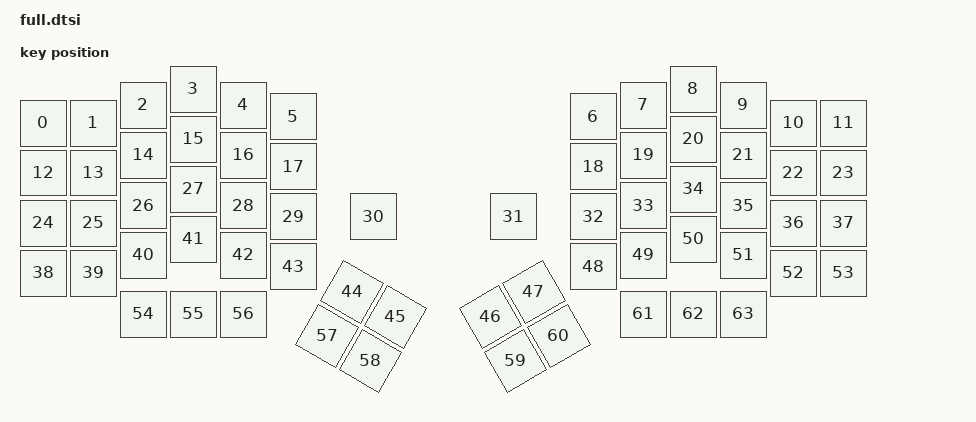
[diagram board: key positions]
#include <physical_layouts.dtsi>

#include "position_map.dtsi"

/ {
    izmir_full_layout: izmir_full_layout {
        compatible = "zmk,physical-layout";
        display-name = "Izmir";

        keys  //                     w   h    x    y     rot    rx    ry
            = <&key_physical_attrs 100 100    0   68       0     0     0>
            , <&key_physical_attrs 100 100  100   68       0     0     0>
            , <&key_physical_attrs 100 100  200   32       0     0     0>
            , <&key_physical_attrs 100 100  300    0       0     0     0>
            , <&key_physical_attrs 100 100  400   32       0     0     0>
            , <&key_physical_attrs 100 100  500   55       0     0     0>
            , <&key_physical_attrs 100 100 1100   55       0     0     0>
            , <&key_physical_attrs 100 100 1200   32       0     0     0>
            , <&key_physical_attrs 100 100 1300    0       0     0     0>
            , <&key_physical_attrs 100 100 1400   32       0     0     0>
            , <&key_physical_attrs 100 100 1500   68       0     0     0>
            , <&key_physical_attrs 100 100 1600   68       0     0     0>
            , <&key_physical_attrs 100 100    0  168       0     0     0>
            , <&key_physical_attrs 100 100  100  168       0     0     0>
            , <&key_physical_attrs 100 100  200  132       0     0     0>
            , <&key_physical_attrs 100 100  300  100       0     0     0>
            , <&key_physical_attrs 100 100  400  132       0     0     0>
            , <&key_physical_attrs 100 100  500  155       0     0     0>
            , <&key_physical_attrs 100 100 1100  155       0     0     0>
            , <&key_physical_attrs 100 100 1200  132       0     0     0>
            , <&key_physical_attrs 100 100 1300  100       0     0     0>
            , <&key_physical_attrs 100 100 1400  132       0     0     0>
            , <&key_physical_attrs 100 100 1500  168       0     0     0>
            , <&key_physical_attrs 100 100 1600  168       0     0     0>
            , <&key_physical_attrs 100 100    0  268       0     0     0>
            , <&key_physical_attrs 100 100  100  268       0     0     0>
            , <&key_physical_attrs 100 100  200  233       0     0     0>
            , <&key_physical_attrs 100 100  300  200       0     0     0>
            , <&key_physical_attrs 100 100  400  233       0     0     0>
            , <&key_physical_attrs 100 100  500  255       0     0     0>
            , <&key_physical_attrs 100 100  660  255       0     0     0>
            , <&key_physical_attrs 100 100  940  255       0     0     0>
            , <&key_physical_attrs 100 100 1100  255       0     0     0>
            , <&key_physical_attrs 100 100 1200  233       0     0     0>
            , <&key_physical_attrs 100 100 1300  200       0     0     0>
            , <&key_physical_attrs 100 100 1400  233       0     0     0>
            , <&key_physical_attrs 100 100 1500  268       0     0     0>
            , <&key_physical_attrs 100 100 1600  268       0     0     0>
            , <&key_physical_attrs 100 100    0  368       0     0     0>
            , <&key_physical_attrs 100 100  100  368       0     0     0>
            , <&key_physical_attrs 100 100  200  332       0     0     0>
            , <&key_physical_attrs 100 100  300  300       0     0     0>
            , <&key_physical_attrs 100 100  400  332       0     0     0>
            , <&key_physical_attrs 100 100  500  355       0     0     0>
            , <&key_physical_attrs 100 100  650  388    3000   650   388>
            , <&key_physical_attrs 100 100  750  388    3000   650   388>
            , <&key_physical_attrs 100 100  850  388 (-3000)  1050   388>
            , <&key_physical_attrs 100 100  950  388 (-3000)  1050   388>
            , <&key_physical_attrs 100 100 1100  355       0     0     0>
            , <&key_physical_attrs 100 100 1200  332       0     0     0>
            , <&key_physical_attrs 100 100 1300  300       0     0     0>
            , <&key_physical_attrs 100 100 1400  332       0     0     0>
            , <&key_physical_attrs 100 100 1500  368       0     0     0>
            , <&key_physical_attrs 100 100 1600  368       0     0     0>
            , <&key_physical_attrs 100 100  200  450       0     0     0>
            , <&key_physical_attrs 100 100  300  450       0     0     0>
            , <&key_physical_attrs 100 100  400  450       0     0     0>
            , <&key_physical_attrs 100 100  600  475    3000   600   475>
            , <&key_physical_attrs 100 100  700  475    3000   600   475>
            , <&key_physical_attrs 100 100  900  475 (-3000)  1100   475>
            , <&key_physical_attrs 100 100 1000  475 (-3000)  1100   475>
            , <&key_physical_attrs 100 100 1200  450       0     0     0>
            , <&key_physical_attrs 100 100 1300  450       0     0     0>
            , <&key_physical_attrs 100 100 1400  450       0     0     0>
            ;
    };
};

&layouts_izmir_position_map {
    izmir_full_posmap: full {
        physical-layout = <&izmir_full_layout>;
        positions
            = < 0  1  2  3  4  5                  6  7  8  9  10 11>
            , < 10 11 12 13 14 15                 16 17 18 19 20 21>
            , < 20 21 22 23 24 25                 26 27 28 29 30 31>
            , < 31 32 33 34 35 36                 37 38 39 40 41 42>
            , <          41 42 43 44 45 46  47 48 49 50 51 52>
            ;
    };
};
